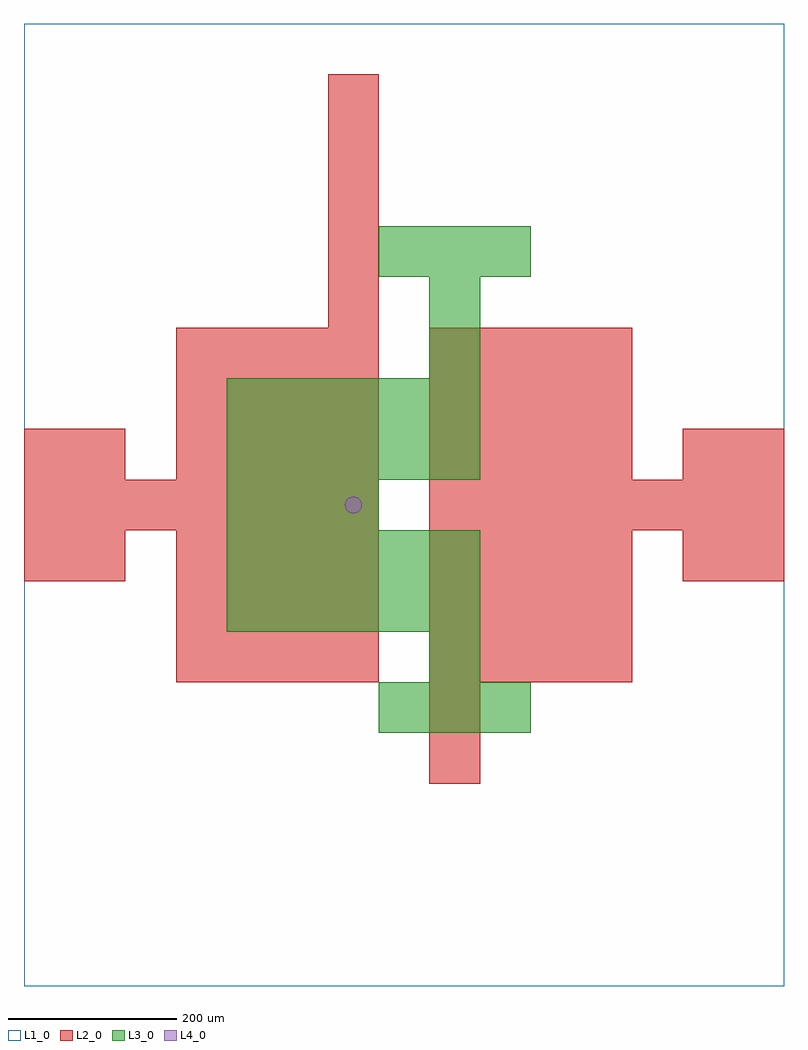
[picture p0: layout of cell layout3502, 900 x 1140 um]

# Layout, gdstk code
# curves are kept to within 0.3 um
import gdstk
lib = gdstk.Library(unit=1e-6, precision=1e-09)
def R(c, l, rs):  # rectangles x0, y0, x1, y1
    for r in rs: c.add(gdstk.rectangle(r[:2], r[2:], *l))
def A(c, l, x, y, w, h, nx, ny, dx, dy):  # array of equal rectangles
    R(c, l, [(x+i*dx, y+j*dy, x+i*dx+w, y+j*dy+h) for i in range(nx) for j in range(ny)])
def P(c, l, *ps):  # polygons
    for p in ps: c.add(gdstk.Polygon(p, *l))
L1_0 = (1, 0)
L2_0 = (2, 0)
L3_0 = (3, 0)
L4_0 = (4, 0)

layout3502 = lib.new_cell('layout3502')
R(layout3502, L1_0, [(0,0,900,1140)])
A(layout3502, L2_0, 180, 360, 60, 60, 4, 3, 60, 60)
A(layout3502, L2_0, 480, 360, 60, 60, 4, 3, 60, 60)
A(layout3502, L2_0, 0, 540, 60, 60, 7, 1, 60, 0)
A(layout3502, L2_0, 480, 540, 60, 60, 7, 1, 60, 0)
A(layout3502, L2_0, 180, 600, 60, 60, 4, 3, 60, 60)
A(layout3502, L2_0, 480, 600, 60, 60, 4, 3, 60, 60)
A(layout3502, L2_0, 360, 780, 60, 60, 1, 5, 0, 60)
R(layout3502, L2_0, [(480,240,540,300), (480,300,540,360), (0,480,60,540), (60,480,120,540), (780,480,840,540), (840,480,900,540), (0,600,60,660), (60,600,120,660), (780,600,840,660), (840,600,900,660)])
A(layout3502, L3_0, 420, 300, 60, 60, 3, 2, 60, 540)
A(layout3502, L3_0, 240, 420, 60, 60, 5, 2, 60, 60)
A(layout3502, L3_0, 240, 540, 60, 60, 3, 1, 60, 0)
A(layout3502, L3_0, 240, 600, 60, 60, 5, 2, 60, 60)
R(layout3502, L3_0, [(480,360,540,420), (480,720,540,780), (480,780,540,840)])
P(layout3502, L4_0, [(400,570),(399.239,573.827),(397.071,577.071),(393.827,579.239),(390,580),(386.173,579.239),(382.929,577.071),(380.761,573.827),(380,570),(380.761,566.173),(382.929,562.929),(386.173,560.761),(390,560),(393.827,560.761),(397.071,562.929),(399.239,566.173)])

lib.write_gds('layout3502.gds')
